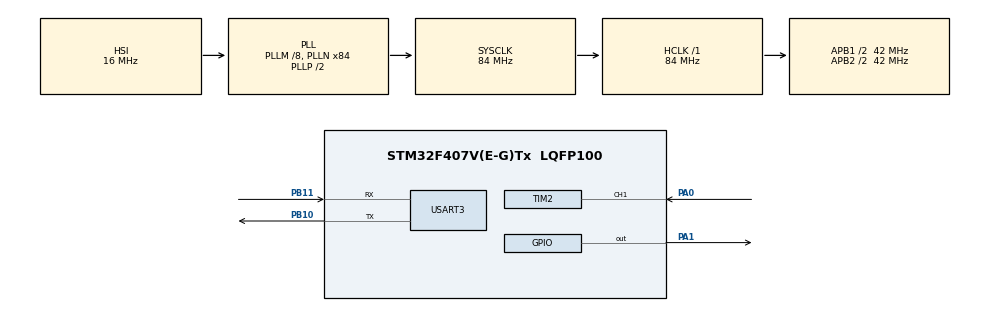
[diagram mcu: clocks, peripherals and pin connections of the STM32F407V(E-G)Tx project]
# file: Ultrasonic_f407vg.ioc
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Mcu.Family=STM32F4
Mcu.Name=STM32F407V(E-G)Tx
Mcu.Package=LQFP100
NVIC.PriorityGroup=NVIC_PRIORITYGROUP_0
NVIC.TIM2_IRQn=true\:0\:0\:false\:false\:true\:true\:true\:true
PA0-WKUP.Signal=S_TIM2_CH1_ETR
PA1.Signal=GPIO_Output
PB10.Mode=Asynchronous
PB10.Signal=USART3_TX
PB11.Mode=Asynchronous
PB11.Signal=USART3_RX
ProjectManager.HeapSize=0x200
ProjectManager.StackSize=0x400
ProjectManager.TargetToolchain=STM32CubeIDE
RCC.48MHZClocksFreq_Value=24000000
RCC.AHBFreq_Value=84000000
RCC.APB1CLKDivider=RCC_HCLK_DIV2
RCC.APB1Freq_Value=42000000
RCC.APB1TimFreq_Value=84000000
RCC.APB2CLKDivider=RCC_HCLK_DIV2
RCC.APB2Freq_Value=42000000
RCC.APB2TimFreq_Value=84000000
RCC.CortexFreq_Value=84000000
RCC.HCLKFreq_Value=84000000
RCC.HSE_VALUE=8000000
RCC.HSI_VALUE=16000000
RCC.LSE_VALUE=32768
RCC.PLLM=8
RCC.PLLN=84
RCC.PLLQ=7
RCC.SYSCLKFreq_VALUE=84000000
RCC.SYSCLKSource=RCC_SYSCLKSOURCE_PLLCLK
RCC.VCOOutputFreq_Value=168000000
SH.S_TIM2_CH1_ETR.0=TIM2_CH1,Input_Capture1_from_TI1
TIM2.AutoReloadPreload=TIM_AUTORELOAD_PRELOAD_DISABLE
TIM2.Channel-Input_Capture1_from_TI1=TIM_CHANNEL_1
TIM2.CounterMode=TIM_COUNTERMODE_UP
TIM2.Period=65535
TIM2.Prescaler=84-1
USART3.VirtualMode=VM_ASYNC
VP_TIM2_VS_ClockSourceINT.Mode=Internal
board=STM32F407G-DISC1

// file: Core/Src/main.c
/* USER CODE BEGIN Header */
/**
  ******************************************************************************
  * @file           : main.c
  * @brief          : Main program body
  ******************************************************************************
  * @attention
  *
  * Copyright (c) 2025 STMicroelectronics.
  * All rights reserved.
  *
  * This software is licensed under terms that can be found in the LICENSE file
  * in the root directory of this software component.
  * If no LICENSE file comes with this software, it is provided AS-IS.
  *
  ******************************************************************************
  */
/* USER CODE END Header */
#include "main.h"

/* USER CODE BEGIN Includes */
#include <stdio.h>
#include <string.h>
/* USER CODE END Includes */

TIM_HandleTypeDef htim2;

UART_HandleTypeDef huart3;

/* USER CODE BEGIN PV */
volatile uint32_t ic_val1 = 0;
volatile uint32_t ic_val2 = 0;
volatile uint8_t is_first_captured = 0; // 0 = not yet, 1 = first captured
volatile uint8_t capture_done = 0;
/* USER CODE END PV */

void SystemClock_Config(void);
static void MX_GPIO_Init(void);
static void MX_TIM2_Init(void);
static void MX_USART3_UART_Init(void);
/* USER CODE BEGIN PFP */
static void DWT_Delay_Init(void);
static void delay_us(uint32_t us);

/* Minimal print function wrapper */
static void uart_printf(const char *fmt, ...);

/* USER CODE END PFP */

int main(void)
{

  /* MCU Configuration--------------------------------------------------------*/

  /* Reset of all peripherals, Initializes the Flash interface and the Systick. */
  HAL_Init();

  /* Configure the system clock */
  SystemClock_Config();

  /* Initialize all configured peripherals */
  MX_GPIO_Init();
  MX_TIM2_Init();
  MX_USART3_UART_Init();
  /* USER CODE BEGIN 2 */
  DWT_Delay_Init();          // enable DWT cycle counter for microsecond delays

     __HAL_TIM_SET_COUNTER(&htim2, 0);
     HAL_TIM_IC_Start_IT(&htim2, TIM_CHANNEL_1);

     uart_printf("STM32F407VG Ultrasonic (TIM2 IC -> USART3)\r\n");
  /* USER CODE END 2 */

  /* Infinite loop */
  while (1)
  {

    /* USER CODE BEGIN 3 */
      /* Trigger the sensor: 10us HIGH pulse on TRIG (PA1) */
      is_first_captured = 0;
      capture_done = 0;
      __HAL_TIM_SET_COUNTER(&htim2, 0); // reset counter

      HAL_GPIO_WritePin(GPIOA, GPIO_PIN_1, GPIO_PIN_SET);
      delay_us(10); // 10 microsecond trigger
      HAL_GPIO_WritePin(GPIOA, GPIO_PIN_1, GPIO_PIN_RESET);

      /* Wait for capture to complete or timeout (50 ms) */
      uint32_t start = HAL_GetTick();
      while (!capture_done)
      {
          if ((HAL_GetTick() - start) > 50) // timeout 50ms
          {
              uart_printf("Timeout: no echo\r\n");
              break;
          }
      }

      if (capture_done)
      {
          uint32_t diff;
          if (ic_val2 >= ic_val1)
              diff = ic_val2 - ic_val1; // microseconds because timer tick = 1 us
        else
              diff = (0xFFFFFFFF - ic_val1) + ic_val2 + 1;               // handle timer overflow (TIM2 is 32-bit, but just in case)

          /* Speed of sound: ~343 m/s = 0.0343 cm/us
             Distance (cm) = (time_us * 0.0343) / 2
             Simplify: distance_cm = time_us * 0.01715
          */
          float distance_cm = (float)diff * 0.01715f;
          uart_printf("Pulse: %lu us, Distance: %.2f cm\r\n", (unsigned long)diff, distance_cm);
      }

      HAL_Delay(200); // measure ~5 times / second
  }

  /* USER CODE END 3 */
}

void SystemClock_Config(void)
{
  RCC_OscInitTypeDef RCC_OscInitStruct = {0};
  RCC_ClkInitTypeDef RCC_ClkInitStruct = {0};

  /** Configure the main internal regulator output voltage
  */
  __HAL_RCC_PWR_CLK_ENABLE();
  __HAL_PWR_VOLTAGESCALING_CONFIG(PWR_REGULATOR_VOLTAGE_SCALE1);

  /** Initializes the RCC Oscillators according to the specified parameters
  * in the RCC_OscInitTypeDef structure.
  */
  RCC_OscInitStruct.OscillatorType = RCC_OSCILLATORTYPE_HSI;
  RCC_OscInitStruct.HSIState = RCC_HSI_ON;
  RCC_OscInitStruct.HSICalibrationValue = RCC_HSICALIBRATION_DEFAULT;
  RCC_OscInitStruct.PLL.PLLState = RCC_PLL_ON;
  RCC_OscInitStruct.PLL.PLLSource = RCC_PLLSOURCE_HSI;
  RCC_OscInitStruct.PLL.PLLM = 8;
  RCC_OscInitStruct.PLL.PLLN = 84;
  RCC_OscInitStruct.PLL.PLLP = RCC_PLLP_DIV2;
  RCC_OscInitStruct.PLL.PLLQ = 7;
  if (HAL_RCC_OscConfig(&RCC_OscInitStruct) != HAL_OK)
  {
    Error_Handler();
  }

  /** Initializes the CPU, AHB and APB buses clocks
  */
  RCC_ClkInitStruct.ClockType = RCC_CLOCKTYPE_HCLK|RCC_CLOCKTYPE_SYSCLK
                              |RCC_CLOCKTYPE_PCLK1|RCC_CLOCKTYPE_PCLK2;
  RCC_ClkInitStruct.SYSCLKSource = RCC_SYSCLKSOURCE_PLLCLK;
  RCC_ClkInitStruct.AHBCLKDivider = RCC_SYSCLK_DIV1;
  RCC_ClkInitStruct.APB1CLKDivider = RCC_HCLK_DIV2;
  RCC_ClkInitStruct.APB2CLKDivider = RCC_HCLK_DIV2;

  if (HAL_RCC_ClockConfig(&RCC_ClkInitStruct, FLASH_LATENCY_2) != HAL_OK)
  {
    Error_Handler();
  }
}

static void MX_TIM2_Init(void)
{

  TIM_ClockConfigTypeDef sClockSourceConfig = {0};
  TIM_MasterConfigTypeDef sMasterConfig = {0};
  TIM_IC_InitTypeDef sConfigIC = {0};

  htim2.Instance = TIM2;
  htim2.Init.Prescaler = 84-1;
  htim2.Init.CounterMode = TIM_COUNTERMODE_UP;
  htim2.Init.Period = 65535;
  htim2.Init.ClockDivision = TIM_CLOCKDIVISION_DIV1;
  htim2.Init.AutoReloadPreload = TIM_AUTORELOAD_PRELOAD_DISABLE;
  if (HAL_TIM_Base_Init(&htim2) != HAL_OK)
  {
    Error_Handler();
  }
  sClockSourceConfig.ClockSource = TIM_CLOCKSOURCE_INTERNAL;
  if (HAL_TIM_ConfigClockSource(&htim2, &sClockSourceConfig) != HAL_OK)
  {
    Error_Handler();
  }
  if (HAL_TIM_IC_Init(&htim2) != HAL_OK)
  {
    Error_Handler();
  }
  sMasterConfig.MasterOutputTrigger = TIM_TRGO_RESET;
  sMasterConfig.MasterSlaveMode = TIM_MASTERSLAVEMODE_DISABLE;
  if (HAL_TIMEx_MasterConfigSynchronization(&htim2, &sMasterConfig) != HAL_OK)
  {
    Error_Handler();
  }
  sConfigIC.ICPolarity = TIM_INPUTCHANNELPOLARITY_RISING;
  sConfigIC.ICSelection = TIM_ICSELECTION_DIRECTTI;
  sConfigIC.ICPrescaler = TIM_ICPSC_DIV1;
  sConfigIC.ICFilter = 0;
  if (HAL_TIM_IC_ConfigChannel(&htim2, &sConfigIC, TIM_CHANNEL_1) != HAL_OK)
  {
    Error_Handler();
  }

}

static void MX_USART3_UART_Init(void)
{

  huart3.Instance = USART3;
  huart3.Init.BaudRate = 115200;
  huart3.Init.WordLength = UART_WORDLENGTH_8B;
  huart3.Init.StopBits = UART_STOPBITS_1;
  huart3.Init.Parity = UART_PARITY_NONE;
  huart3.Init.Mode = UART_MODE_TX_RX;
  huart3.Init.HwFlowCtl = UART_HWCONTROL_NONE;
  huart3.Init.OverSampling = UART_OVERSAMPLING_16;
  if (HAL_UART_Init(&huart3) != HAL_OK)
  {
    Error_Handler();
  }

}

static void MX_GPIO_Init(void)
{
  GPIO_InitTypeDef GPIO_InitStruct = {0};

  /* GPIO Ports Clock Enable */
  __HAL_RCC_GPIOA_CLK_ENABLE();
  __HAL_RCC_GPIOB_CLK_ENABLE();

  /*Configure GPIO pin Output Level */
  HAL_GPIO_WritePin(GPIOA, GPIO_PIN_1, GPIO_PIN_RESET);

  /*Configure GPIO pin : PA1 */
  GPIO_InitStruct.Pin = GPIO_PIN_1;
  GPIO_InitStruct.Mode = GPIO_MODE_OUTPUT_PP;
  GPIO_InitStruct.Pull = GPIO_NOPULL;
  GPIO_InitStruct.Speed = GPIO_SPEED_FREQ_LOW;
  HAL_GPIO_Init(GPIOA, &GPIO_InitStruct);

  /* USER CODE BEGIN MX_GPIO_Init_2 */
  GPIO_InitStruct.Pin = GPIO_PIN_0;
   GPIO_InitStruct.Mode = GPIO_MODE_AF_PP;
   GPIO_InitStruct.Pull = GPIO_NOPULL;
   GPIO_InitStruct.Speed = GPIO_SPEED_FREQ_HIGH;
   GPIO_InitStruct.Alternate = GPIO_AF1_TIM2;
   HAL_GPIO_Init(GPIOA, &GPIO_InitStruct);
  /* USER CODE END MX_GPIO_Init_2 */
}

/* USER CODE BEGIN 4 */

/* Input Capture Callback */
void HAL_TIM_IC_CaptureCallback(TIM_HandleTypeDef *htim)
{
    if (htim->Channel == HAL_TIM_ACTIVE_CHANNEL_1)
    {
        if (is_first_captured == 0)
        {
            ic_val1 = HAL_TIM_ReadCapturedValue(htim, TIM_CHANNEL_1);
            is_first_captured = 1;

            __HAL_TIM_SET_CAPTUREPOLARITY(htim, TIM_CHANNEL_1, TIM_INPUTCHANNELPOLARITY_FALLING);
        }
        else
        {
            ic_val2 = HAL_TIM_ReadCapturedValue(htim, TIM_CHANNEL_1);

            __HAL_TIM_SET_CAPTUREPOLARITY(htim, TIM_CHANNEL_1, TIM_INPUTCHANNELPOLARITY_RISING);

            capture_done = 1;
        }
    }
}

static void DWT_Delay_Init(void)
{
    /* Enable TRC */
    CoreDebug->DEMCR |= CoreDebug_DEMCR_TRCENA_Msk;
    /* Reset the cycle counter */
    DWT->CYCCNT = 0;
    /* Enable the cycle counter */
    DWT->CTRL |= DWT_CTRL_CYCCNTENA_Msk;
}

/* Delay in microseconds using cycle counter */
static void delay_us(uint32_t us)
{
    uint32_t cycles = (SystemCoreClock / 1000000L) * us;
    uint32_t start = DWT->CYCCNT;
    while ((DWT->CYCCNT - start) < cycles) { /* busy wait */ }
}

/* UART helper (printf style) */
#include <stdarg.h>
static void uart_printf(const char *fmt, ...)
{
    char buf[128];
    va_list args;
    va_start(args, fmt);
    vsnprintf(buf, sizeof(buf), fmt, args);
    va_end(args);
    HAL_UART_Transmit(&huart3, (uint8_t *)buf, strlen(buf), HAL_MAX_DELAY);
}

/* TIM2 IRQHandler - link to HAL handler */

/* Error handler */

/* USER CODE END 4 */

void Error_Handler(void)
{
  __disable_irq();
  while (1)
  {
  }
}
